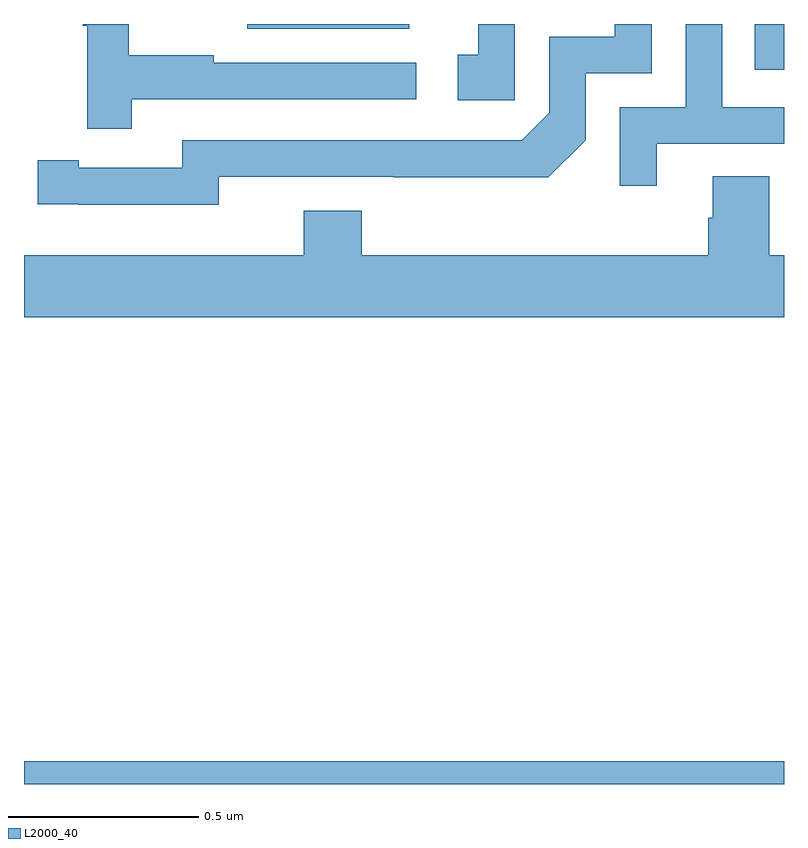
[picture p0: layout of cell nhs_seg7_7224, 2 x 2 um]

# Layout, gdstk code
import gdstk
lib = gdstk.Library(unit=1e-6, precision=1e-09)
def R(c, l, rs):  # rectangles x0, y0, x1, y1
    for r in rs: c.add(gdstk.rectangle(r[:2], r[2:], *l))
def P(c, l, *ps):  # polygons
    for p in ps: c.add(gdstk.Polygon(p, *l))
L2000_40 = (2000, 40)

nhs_seg7_7224 = lib.new_cell('nhs_seg7_7224')
R(nhs_seg7_7224, L2000_40, [(208,1054,210,1054.06), (209.923,1055.88,210,1056), (208.587,1055.987,209.014,1056)])
P(nhs_seg7_7224, L2000_40, [(208.283,1055.802),(209.032,1055.802),(209.032,1055.898),(208.499,1055.898),(208.499,1055.918),(208.276,1055.918),(208.276,1056),(208.155,1056),(208.155,1055.995),(208.166,1055.995),(208.166,1055.724),(208.283,1055.724)],
  [(208.512,1055.598),(208.972,1055.598),(208.972,1055.597),(209.38,1055.597),(209.478,1055.694),(209.478,1055.871),(209.652,1055.871),(209.652,1056),(209.555,1056),(209.555,1055.967),(209.382,1055.967),(209.382,1055.766),(209.31,1055.694),(208.416,1055.694),(208.416,1055.622),(208.144,1055.622),(208.144,1055.642),(208.036,1055.642),(208.036,1055.526),(208.144,1055.526),(208.144,1055.525),(208.512,1055.525)],
  [(209.665,1055.685),(210,1055.685),(210,1055.781),(209.838,1055.781),(209.838,1056),(209.742,1056),(209.742,1055.781),(209.568,1055.781),(209.568,1055.574),(209.665,1055.574)],
  [(209.292,1056),(209.195,1056),(209.195,1055.919),(209.142,1055.919),(209.142,1055.799),(209.292,1055.799)],
  [(209.813,1055.6),(209.813,1055.49),(209.801,1055.49),(209.801,1055.392),(208.889,1055.392),(208.889,1055.509),(208.736,1055.509),(208.736,1055.392),(208,1055.392),(208,1055.228),(210,1055.228),(210,1055.392),(209.961,1055.392),(209.961,1055.6)])

lib.write_gds('nhs_seg7_7224.gds')
